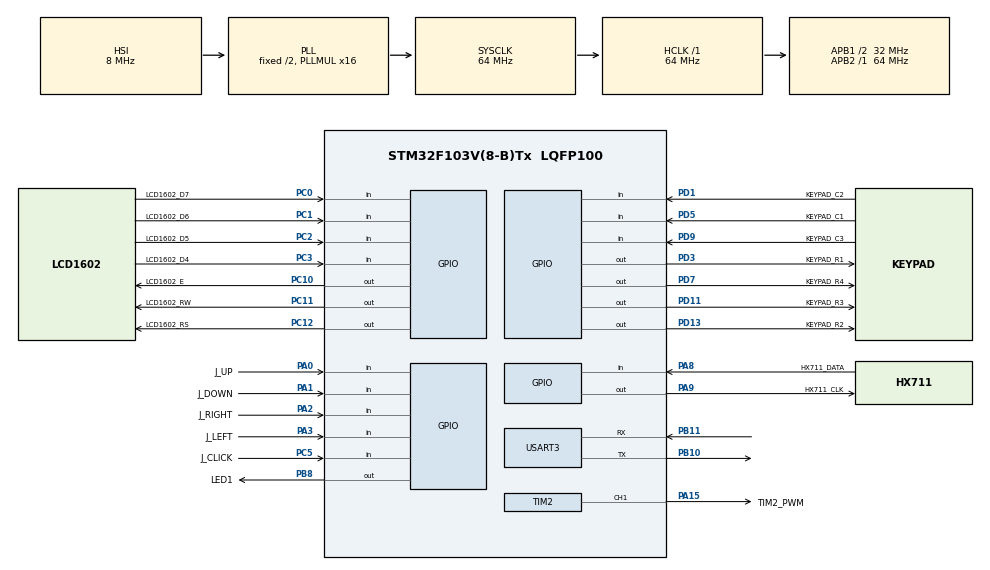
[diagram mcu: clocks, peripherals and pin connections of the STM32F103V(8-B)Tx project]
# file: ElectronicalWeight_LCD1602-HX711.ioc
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Mcu.Family=STM32F1
Mcu.Name=STM32F103V(8-B)Tx
Mcu.Package=LQFP100
NVIC.PriorityGroup=NVIC_PRIORITYGROUP_4
PA0-WKUP.GPIO_Label=J_UP
PA0-WKUP.Signal=GPIO_Input
PA1.GPIO_Label=J_DOWN
PA1.Signal=GPIO_Input
PA13.Mode=Serial_Wire
PA13.Signal=SYS_JTMS-SWDIO
PA14.Mode=Serial_Wire
PA14.Signal=SYS_JTCK-SWCLK
PA15.GPIO_Label=TIM2_PWM
PA15.Signal=S_TIM2_CH1_ETR
PA2.GPIO_Label=J_RIGHT
PA2.Signal=GPIO_Input
PA3.GPIO_Label=J_LEFT
PA3.Signal=GPIO_Input
PA8.GPIO_Label=HX711_DATA
PA8.GPIO_PuPd=GPIO_PULLUP
PA8.Signal=GPIO_Input
PA9.GPIO_Label=HX711_CLK
PA9.GPIO_ModeDefaultOutputPP=GPIO_MODE_OUTPUT_PP
PA9.GPIO_PuPd=GPIO_NOPULL
PA9.Signal=GPIO_Output
PB10.Mode=Asynchronous
PB10.Signal=USART3_TX
PB11.Mode=Asynchronous
PB11.Signal=USART3_RX
PB8.GPIO_Label=LED1
PB8.Signal=GPIO_Output
PC0.GPIO_Label=LCD1602_D7
PC0.GPIO_PuPd=GPIO_PULLDOWN
PC0.Signal=GPIO_Input
PC1.GPIO_Label=LCD1602_D6
PC1.GPIO_PuPd=GPIO_PULLDOWN
PC1.Signal=GPIO_Input
PC10.GPIO_Label=LCD1602_E
PC10.Signal=GPIO_Output
PC11.GPIO_Label=LCD1602_RW
PC11.Signal=GPIO_Output
PC12.GPIO_Label=LCD1602_RS
PC12.Signal=GPIO_Output
PC2.GPIO_Label=LCD1602_D5
PC2.GPIO_PuPd=GPIO_PULLDOWN
PC2.Signal=GPIO_Input
PC3.GPIO_Label=LCD1602_D4
PC3.GPIO_PuPd=GPIO_PULLDOWN
PC3.Signal=GPIO_Input
PC5.GPIO_Label=J_CLICK
PC5.GPIO_PuPd=GPIO_PULLDOWN
PC5.Signal=GPIO_Input
PD1.GPIO_Label=KEYPAD_C2
PD1.GPIO_PuPd=GPIO_PULLUP
PD1.Signal=GPIO_Input
PD11.GPIO_Label=KEYPAD_R3
PD11.PinState=GPIO_PIN_SET
PD11.Signal=GPIO_Output
PD13.GPIO_Label=KEYPAD_R2
PD13.PinState=GPIO_PIN_SET
PD13.Signal=GPIO_Output
PD3.GPIO_Label=KEYPAD_R1
PD3.PinState=GPIO_PIN_SET
PD3.Signal=GPIO_Output
PD5.GPIO_Label=KEYPAD_C1
PD5.GPIO_PuPd=GPIO_PULLUP
PD5.Signal=GPIO_Input
PD7.GPIO_Label=KEYPAD_R4
PD7.PinState=GPIO_PIN_SET
PD7.Signal=GPIO_Output
PD9.GPIO_Label=KEYPAD_C3
PD9.GPIO_PuPd=GPIO_PULLUP
PD9.Signal=GPIO_Input
ProjectManager.HeapSize=0x200
ProjectManager.StackSize=0x400
ProjectManager.TargetToolchain=STM32CubeIDE
RCC.AHBFreq_Value=64000000
RCC.APB1CLKDivider=RCC_HCLK_DIV2
RCC.APB1Freq_Value=32000000
RCC.APB1TimFreq_Value=64000000
RCC.APB2Freq_Value=64000000
RCC.APB2TimFreq_Value=64000000
RCC.HCLKFreq_Value=64000000
RCC.PLLMUL=RCC_PLL_MUL16
RCC.SYSCLKFreq_VALUE=64000000
RCC.SYSCLKSource=RCC_SYSCLKSOURCE_PLLCLK
RCC.USBFreq_Value=64000000
SH.S_TIM2_CH1_ETR.0=TIM2_CH1,PWM Generation1 CH1
TIM1.Prescaler=63
TIM2.Channel-PWM\ Generation1\ CH1=TIM_CHANNEL_1
TIM2.Period=100
TIM2.Prescaler=63
TIM2.Pulse-PWM\ Generation1\ CH1=70
USART3.VirtualMode=VM_ASYNC
VP_TIM1_VS_ClockSourceINT.Mode=Internal
VP_TIM2_VS_ClockSourceINT.Mode=Internal
board=custom

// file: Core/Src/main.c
/* USER CODE BEGIN Header */
/**
  ******************************************************************************
  * @file           : main.c
  * @brief          : Main program body
  ******************************************************************************
  * @attention
  *
  * Copyright (c) 2025 STMicroelectronics.
  * All rights reserved.
  *
  * This software is licensed under terms that can be found in the LICENSE file
  * in the root directory of this software component.
  * If no LICENSE file comes with this software, it is provided AS-IS.
  *
  ******************************************************************************
  */
/* USER CODE END Header */
#include "main.h"
#include "tim.h"
#include "usart.h"
#include "gpio.h"

/* USER CODE BEGIN Includes */
#include <stdio.h>

#include <stddef.h>
#include "Gen_libary.h"
#include "HX711_pro.h"
#include "HD44780.h"
#include "HD44780_menu.h"
#include "Joystick.h"
#include "Joystick_menu.h"
#include "HD44780_callbacks.h"
#include "stm32f1xx_it.h"
#include "Keypad.h"

#define NULL 0

/* USER CODE END Includes */

void SystemClock_Config(void);

/* USER CODE BEGIN 0 */
int __io_putchar(int ch)
{
  if (ch == '\n') {
    __io_putchar('\r');
  }
  HAL_UART_Transmit(&huart3, (uint8_t*)&ch, 1, HAL_MAX_DELAY);
  return 1;
}

menu_t menu_1 = {"MEASURE", &menu_2, &menu_3 , &sub_menu_1_1, NULL, NULL};
	menu_t sub_menu_1_1 = {"Realtime", &sub_menu_1_2, &sub_menu_1_2 , NULL, &menu_1, disp_weight_callback};
	menu_t sub_menu_1_2 = {"Probes", NULL, &sub_menu_1_1 , NULL, &menu_1, disp_weight_p_callback};

menu_t menu_2 = {"DISPLAY", &menu_3, &menu_1, &sub_menu_2_1, NULL, NULL};
	menu_t sub_menu_2_1 = {"Brightness", NULL, &sub_menu_2_1, NULL, &menu_2, disp_brightness_callback};

menu_t menu_3 = {"SET OFFSET", NULL, &menu_2, &sub_menu_3_1, NULL, NULL};
	menu_t sub_menu_3_1 = {"Set custom", NULL, &sub_menu_3_1, NULL, &menu_3, disp_set_custom_callback};

/* USER CODE END 0 */

int main(void)
{

  /* MCU Configuration--------------------------------------------------------*/

  /* Reset of all peripherals, Initializes the Flash interface and the Systick. */
  HAL_Init();

  /* Configure the system clock */
  SystemClock_Config();

  /* Initialize all configured peripherals */
  MX_GPIO_Init();
  MX_TIM1_Init();
  MX_USART3_UART_Init();
  MX_TIM2_Init();
  /* USER CODE BEGIN 2 */
  char tmp[] = {
  	    '1','2','3',
  	    '4','5','6',
  	    '7','8','9',
  	    '*','0','#'
  	};

  HX711 hx711_weight;
  HD44780 hd44780_lcd1602;
  Joystick J;
  Keypad K;

  pin_t K_r_pins[] = {
      {KEYPAD_R1_GPIO_Port, KEYPAD_R1_Pin},
      {KEYPAD_R2_GPIO_Port, KEYPAD_R2_Pin},
      {KEYPAD_R3_GPIO_Port, KEYPAD_R3_Pin},
      {KEYPAD_R4_GPIO_Port, KEYPAD_R4_Pin}
  };

  pin_t K_c_pins[] = {
      {KEYPAD_C1_GPIO_Port, KEYPAD_C1_Pin},
      {KEYPAD_C2_GPIO_Port, KEYPAD_C2_Pin},
      {KEYPAD_C3_GPIO_Port, KEYPAD_C3_Pin}
  };

  HAL_TIM_Base_Start(&htim2);
  Gen_libary_Timer_init(&htim1);

  Keypad_init(&K, K_r_pins, K_c_pins, 4, 3, tmp);
  HX711_default_init(&hx711_weight, HX711_CLK_GPIO_Port, HX711_CLK_Pin, HX711_DATA_GPIO_Port, HX711_DATA_Pin);
  HX711_set_gain(&hx711_weight, 128);

  HD44780_init(&hd44780_lcd1602, LCD1602_RS_GPIO_Port, LCD1602_RS_Pin, LCD1602_RW_GPIO_Port, LCD1602_RW_Pin,
		  LCD1602_E_GPIO_Port, LCD1602_E_Pin, LCD1602_D4_GPIO_Port,  LCD1602_D4_Pin, LCD1602_D5_GPIO_Port,
		  LCD1602_D5_Pin, LCD1602_D6_GPIO_Port, LCD1602_D6_Pin, LCD1602_D7_GPIO_Port, LCD1602_D7_Pin);
  HD44780_init_brightness(&hd44780_lcd1602, &htim2, &TIM2->CCR1, &TIM2->ARR, TIM_CHANNEL_1);
  HD44780_init_keypad(&hd44780_lcd1602, &K);
  HD44780_init_menu(&hd44780_lcd1602, &menu_1);
  HD44780_init_weight(&hd44780_lcd1602, &hx711_weight);
  JoystickInit(&J, J_UP_GPIO_Port, J_UP_Pin,
		  J_RIGHT_GPIO_Port, J_RIGHT_Pin,
		  J_DOWN_GPIO_Port, J_DOWN_Pin, J_LEFT_GPIO_Port,
		  J_LEFT_Pin, J_CLICK_GPIO_Port, J_CLICK_Pin);

   key_next_fun = HD44780_next_m;
   key_prev_fun = HD44780_prev_m;
   key_enter_fun = HD44780_enter_m;
   key_back_fun = HD44780_get_back_m;
   key_on_fun = HD44780_on_m;

  /* USER CODE END 2 */

  /* Infinite loop */
  /* USER CODE BEGIN WHILE */
  while (1)
  {
	  disp_menu_fun_callbacks_state_machine(&hd44780_lcd1602);

	 HX711_weight_read_fast(&hx711_weight);

	 pool_joystick(&J);
	 Keypad_get_pressed(&K);
	 key_next_pressed(&hd44780_lcd1602, &J);
	 key_prev_pressed(&hd44780_lcd1602, &J);
	 key_enter_pressed(&hd44780_lcd1602, &J);
	 key_back_pressed(&hd44780_lcd1602, &J);
	 key_on_pressed(&hd44780_lcd1602, &J);

    /* USER CODE END WHILE */

  }
}

void SystemClock_Config(void)
{
  RCC_OscInitTypeDef RCC_OscInitStruct = {0};
  RCC_ClkInitTypeDef RCC_ClkInitStruct = {0};

  /** Initializes the RCC Oscillators according to the specified parameters
  * in the RCC_OscInitTypeDef structure.
  */
  RCC_OscInitStruct.OscillatorType = RCC_OSCILLATORTYPE_HSI;
  RCC_OscInitStruct.HSIState = RCC_HSI_ON;
  RCC_OscInitStruct.HSICalibrationValue = RCC_HSICALIBRATION_DEFAULT;
  RCC_OscInitStruct.PLL.PLLState = RCC_PLL_ON;
  RCC_OscInitStruct.PLL.PLLSource = RCC_PLLSOURCE_HSI_DIV2;
  RCC_OscInitStruct.PLL.PLLMUL = RCC_PLL_MUL16;
  if (HAL_RCC_OscConfig(&RCC_OscInitStruct) != HAL_OK)
  {
    Error_Handler();
  }

  /** Initializes the CPU, AHB and APB buses clocks
  */
  RCC_ClkInitStruct.ClockType = RCC_CLOCKTYPE_HCLK|RCC_CLOCKTYPE_SYSCLK
                              |RCC_CLOCKTYPE_PCLK1|RCC_CLOCKTYPE_PCLK2;
  RCC_ClkInitStruct.SYSCLKSource = RCC_SYSCLKSOURCE_PLLCLK;
  RCC_ClkInitStruct.AHBCLKDivider = RCC_SYSCLK_DIV1;
  RCC_ClkInitStruct.APB1CLKDivider = RCC_HCLK_DIV2;
  RCC_ClkInitStruct.APB2CLKDivider = RCC_HCLK_DIV1;

  if (HAL_RCC_ClockConfig(&RCC_ClkInitStruct, FLASH_LATENCY_2) != HAL_OK)
  {
    Error_Handler();
  }
}

void Error_Handler(void)
{
  __disable_irq();
  while (1)
  {
  }
}
